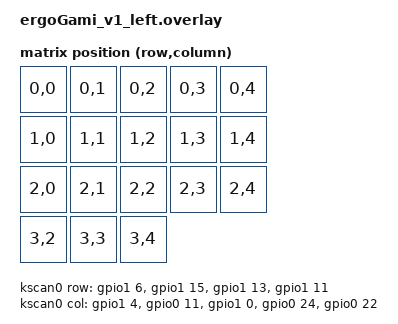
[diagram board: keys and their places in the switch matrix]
#include <dt-bindings/zmk/matrix_transform.h>

// GPIO configuration for the board
&gpio0 {
    status = "okay";  // Ensure gpio0 is enabled
};

&gpio1 {
    status = "okay";  // Ensure gpio1 is enabled (only defined once)
};

// Root node configuration
/ {
    chosen {
        zmk,kscan = &kscan0;           // Define key scan configuration
        zmk,matrix_transform = &default_transform;
    };

    // Keyboard matrix (5x4 left, 5x4 right)
    default_transform: keymap_transform_0 {
        compatible = "zmk,matrix-transform";
        columns = <5>;  // Left half: 6 columns
        rows = <4>;     // Define number of rows
        map = <
            // Left half (18 keys)
            // Right half (17 keys) + analog (not mentioned here)
            RC(0,0) RC(0,1) RC(0,2) RC(0,3) RC(0,4) 
            RC(1,0) RC(1,1) RC(1,2) RC(1,3) RC(1,4) 
            RC(2,0) RC(2,1) RC(2,2) RC(2,3) RC(2,4) 
            RC(3,2) RC(3,3) RC(3,4)
        >;
    };

    // Keyscan GPIO configuration
    kscan0: kscan {
        compatible = "zmk,kscan-gpio-matrix";
        
        diode-direction = "col2row";  // Set diode direction for the matrix
        row-gpios = <
            &gpio1 6  (GPIO_ACTIVE_HIGH | GPIO_PULL_DOWN)
            &gpio1 15 (GPIO_ACTIVE_HIGH | GPIO_PULL_DOWN) 
            &gpio1 13 (GPIO_ACTIVE_HIGH | GPIO_PULL_DOWN) 
            &gpio1 11 (GPIO_ACTIVE_HIGH | GPIO_PULL_DOWN)  
        >;

        col-gpios = <
            &gpio1 4  (GPIO_ACTIVE_HIGH | GPIO_PULL_DOWN)
            &gpio0 11 (GPIO_ACTIVE_HIGH | GPIO_PULL_DOWN)
            &gpio1 0  (GPIO_ACTIVE_HIGH | GPIO_PULL_DOWN)
            &gpio0 24 (GPIO_ACTIVE_HIGH | GPIO_PULL_DOWN)
            &gpio0 22 (GPIO_ACTIVE_HIGH | GPIO_PULL_DOWN)
        >;
    };

    // Widgets
    layer_status: layer_status {
        compatible = "zmk,layer-status";
        status = "okay";
        x = <0>;
        y = <0>;
        color = <0xFFFFFF>;  // White
    };

    battery_status: battery_status {
        compatible = "zmk,battery-status";
        status = "okay";
        x = <50>;
        y = <0>;
        color = <0xFF0000>;  // Red
    };

    output_status: output_status {
        compatible = "zmk,output-status";
        status = "okay";
        x = <100>;
        y = <0>;
        color = <0x00FF00>;  // Green
    };
};

// ---- THIS IS OUTSIDE THE ROOT NODE! ----
// &spi1 {
//     nice_view_spi: spi@0 {
//         // your device
//     };
// };
